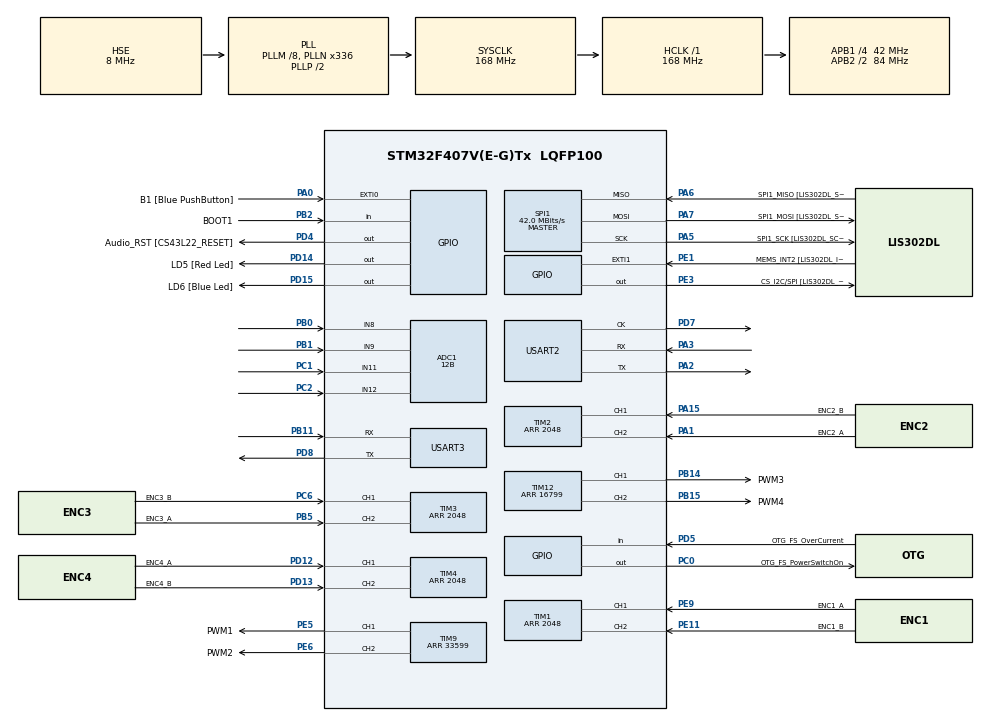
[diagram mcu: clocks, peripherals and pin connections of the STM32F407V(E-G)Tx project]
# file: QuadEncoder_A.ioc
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ADC1.Channel-4\#ChannelRegularConversion=ADC_CHANNEL_8
ADC1.Channel-5\#ChannelRegularConversion=ADC_CHANNEL_9
ADC1.Channel-6\#ChannelRegularConversion=ADC_CHANNEL_11
ADC1.Channel-7\#ChannelRegularConversion=ADC_CHANNEL_12
ADC1.Channel-8\#ChannelRegularConversion=ADC_CHANNEL_TEMPSENSOR
ADC1.ClockPrescaler=ADC_CLOCK_SYNC_PCLK_DIV4
ADC1.ContinuousConvMode=ENABLE
ADC1.DMAContinuousRequests=ENABLE
ADC1.DataAlign=ADC_DATAALIGN_RIGHT
ADC1.DiscontinuousConvMode=DISABLE
ADC1.EOCSelection=ADC_EOC_SEQ_CONV
ADC1.EnableAnalogWatchDog=false
ADC1.ExternalTrigConv=ADC_SOFTWARE_START
ADC1.ExternalTrigConvEdge=ADC_EXTERNALTRIGCONVEDGE_NONE
ADC1.InjNumberOfConversion=0
ADC1.NbrOfConversion=5
ADC1.NbrOfConversionFlag=1
ADC1.Rank-4\#ChannelRegularConversion=1
ADC1.Rank-5\#ChannelRegularConversion=2
ADC1.Rank-6\#ChannelRegularConversion=3
ADC1.Rank-7\#ChannelRegularConversion=4
ADC1.Rank-8\#ChannelRegularConversion=5
ADC1.Resolution=ADC_RESOLUTION_12B
ADC1.SamplingTime-4\#ChannelRegularConversion=ADC_SAMPLETIME_480CYCLES
ADC1.SamplingTime-5\#ChannelRegularConversion=ADC_SAMPLETIME_480CYCLES
ADC1.SamplingTime-6\#ChannelRegularConversion=ADC_SAMPLETIME_480CYCLES
ADC1.SamplingTime-7\#ChannelRegularConversion=ADC_SAMPLETIME_480CYCLES
ADC1.SamplingTime-8\#ChannelRegularConversion=ADC_SAMPLETIME_480CYCLES
ADC1.ScanConvMode=ENABLE
ADC1.master=1
Dma.ADC1.0.Direction=DMA_PERIPH_TO_MEMORY
Dma.ADC1.0.FIFOMode=DMA_FIFOMODE_DISABLE
Dma.ADC1.0.Instance=DMA2_Stream0
Dma.ADC1.0.MemDataAlignment=DMA_MDATAALIGN_HALFWORD
Dma.ADC1.0.MemInc=DMA_MINC_ENABLE
Dma.ADC1.0.Mode=DMA_CIRCULAR
Dma.ADC1.0.PeriphDataAlignment=DMA_PDATAALIGN_HALFWORD
Dma.ADC1.0.PeriphInc=DMA_PINC_DISABLE
Dma.ADC1.0.Priority=DMA_PRIORITY_LOW
Dma.Request0=ADC1
Mcu.Family=STM32F4
Mcu.Name=STM32F407V(E-G)Tx
Mcu.Package=LQFP100
NVIC.ADC_IRQn=true\:0\:0\:false\:false\:true
NVIC.DMA2_Stream0_IRQn=true\:0\:0\:false\:false\:true
NVIC.PriorityGroup=NVIC_PRIORITYGROUP_0
NVIC.TIM5_IRQn=true\:0\:0\:false\:false\:true
PA0-WKUP.GPIO_Label=B1 [Blue PushButton]
PA0-WKUP.Signal=GPXTI0
PA1.GPIO_Label=ENC2_A
PA1.GPIO_PuPd=GPIO_PULLUP
PA1.Signal=S_TIM2_CH2
PA10.GPIO_Label=OTG_FS_ID
PA10.GPIO_Mode=GPIO_MODE_AF_PP
PA10.GPIO_PuPd=GPIO_NOPULL
PA10.GPIO_Speed=GPIO_SPEED_FREQ_LOW
PA10.Signal=USB_OTG_FS_ID
PA11.GPIO_Label=OTG_FS_DM
PA11.GPIO_Mode=GPIO_MODE_AF_PP
PA11.GPIO_PuPd=GPIO_NOPULL
PA11.GPIO_Speed=GPIO_SPEED_FREQ_LOW
PA11.Signal=USB_OTG_FS_DM
PA12.GPIO_Label=OTG_FS_DP
PA12.GPIO_Mode=GPIO_MODE_AF_PP
PA12.GPIO_PuPd=GPIO_NOPULL
PA12.GPIO_Speed=GPIO_SPEED_FREQ_LOW
PA12.Signal=USB_OTG_FS_DP
PA13.GPIO_Label=SWDIO
PA13.Signal=SYS_JTMS-SWDIO
PA14.GPIO_Label=SWCLK
PA14.Signal=SYS_JTCK-SWCLK
PA15.GPIO_Label=ENC2_B
PA15.GPIO_PuPd=GPIO_PULLUP
PA15.Signal=S_TIM2_CH1_ETR
PA2.Mode=Synchronous
PA2.Signal=USART2_TX
PA3.Mode=Synchronous
PA3.Signal=USART2_RX
PA4.GPIO_Label=I2S3_WS [CS43L22_LRCK]
PA4.GPIO_Mode=GPIO_MODE_AF_PP
PA4.GPIO_PuPd=GPIO_NOPULL
PA4.GPIO_Speed=GPIO_SPEED_FREQ_LOW
PA4.Signal=I2S3_WS
PA5.GPIO_Label=SPI1_SCK [LIS302DL_SCL/SPC]
PA5.GPIO_Mode=GPIO_MODE_AF_PP
PA5.GPIO_PuPd=GPIO_NOPULL
PA5.GPIO_Speed=GPIO_SPEED_FREQ_LOW
PA5.Mode=Full_Duplex_Master
PA5.Signal=SPI1_SCK
PA6.GPIO_Label=SPI1_MISO [LIS302DL_SDO]
PA6.GPIO_Mode=GPIO_MODE_AF_PP
PA6.GPIO_PuPd=GPIO_NOPULL
PA6.GPIO_Speed=GPIO_SPEED_FREQ_LOW
PA6.Mode=Full_Duplex_Master
PA6.Signal=SPI1_MISO
PA7.GPIO_Label=SPI1_MOSI [LIS302DL_SDA/SDI/SDO]
PA7.GPIO_Mode=GPIO_MODE_AF_PP
PA7.GPIO_PuPd=GPIO_NOPULL
PA7.GPIO_Speed=GPIO_SPEED_FREQ_LOW
PA7.Mode=Full_Duplex_Master
PA7.Signal=SPI1_MOSI
PA9.GPIO_Label=VBUS_FS
PA9.GPIO_Mode=GPIO_MODE_INPUT
PA9.GPIO_PuPd=GPIO_NOPULL
PA9.Signal=USB_OTG_FS_VBUS
PB0.Signal=ADCx_IN8
PB1.Signal=ADCx_IN9
PB10.GPIO_Label=CLK_IN [MP45DT02_CLK]
PB10.GPIO_Mode=GPIO_MODE_AF_PP
PB10.GPIO_PuPd=GPIO_NOPULL
PB10.GPIO_Speed=GPIO_SPEED_FREQ_LOW
PB10.Signal=I2S2_CK
PB11.Mode=Multiprocessor_communication
PB11.Signal=USART3_RX
PB14.GPIO_Label=PWM3
PB14.GPIO_PuPd=GPIO_PULLUP
PB14.GPIO_Speed=GPIO_SPEED_FREQ_HIGH
PB14.Signal=S_TIM12_CH1
PB15.GPIO_Label=PWM4
PB15.GPIO_PuPd=GPIO_PULLUP
PB15.GPIO_Speed=GPIO_SPEED_FREQ_HIGH
PB15.Signal=S_TIM12_CH2
PB2.GPIO_Label=BOOT1
PB2.GPIO_Mode=GPIO_MODE_INPUT
PB2.GPIO_PuPd=GPIO_NOPULL
PB2.Signal=GPIO_Input
PB3.GPIO_Label=SWO
PB3.Signal=SYS_JTDO-SWO
PB5.GPIO_Label=ENC3_A
PB5.GPIO_PuPd=GPIO_PULLUP
PB5.Signal=S_TIM3_CH2
PB6.GPIO_Label=Audio_SCL [CS43L22_SCL]
PB6.GPIO_Mode=GPIO_MODE_AF_OD
PB6.GPIO_PuPd=GPIO_NOPULL
PB6.GPIO_Speed=GPIO_SPEED_FREQ_LOW
PB6.Signal=I2C1_SCL
PB9.GPIO_Label=Audio_SDA [CS43L22_SDA]
PB9.GPIO_Mode=GPIO_MODE_AF_OD
PB9.GPIO_PuPd=GPIO_NOPULL
PB9.GPIO_Speed=GPIO_SPEED_FREQ_LOW
PB9.Signal=I2C1_SDA
PC0.GPIO_Label=OTG_FS_PowerSwitchOn
PC0.GPIO_PuPd=GPIO_NOPULL
PC0.GPIO_Speed=GPIO_SPEED_FREQ_LOW
PC0.PinState=GPIO_PIN_SET
PC0.Signal=GPIO_Output
PC1.Signal=ADCx_IN11
PC10.GPIO_Label=I2S3_SCK [CS43L22_SCLK]
PC10.GPIO_Mode=GPIO_MODE_AF_PP
PC10.GPIO_PuPd=GPIO_NOPULL
PC10.GPIO_Speed=GPIO_SPEED_FREQ_LOW
PC10.Signal=I2S3_CK
PC12.GPIO_Label=I2S3_SD [CS43L22_SDIN]
PC12.GPIO_Mode=GPIO_MODE_AF_PP
PC12.GPIO_PuPd=GPIO_NOPULL
PC12.GPIO_Speed=GPIO_SPEED_FREQ_LOW
PC12.Signal=I2S3_SD
PC14-OSC32_IN.GPIO_Label=PC14-OSC32_IN
PC14-OSC32_IN.Signal=RCC_OSC32_IN
PC15-OSC32_OUT.GPIO_Label=PC15-OSC32_OUT
PC15-OSC32_OUT.Signal=RCC_OSC32_OUT
PC2.Signal=ADCx_IN12
PC3.GPIO_Label=PDM_OUT [MP45DT02_DOUT]
PC3.GPIO_Mode=GPIO_MODE_AF_PP
PC3.GPIO_PuPd=GPIO_NOPULL
PC3.GPIO_Speed=GPIO_SPEED_FREQ_LOW
PC3.Signal=I2S2_SD
PC6.GPIO_Label=ENC3_B
PC6.GPIO_PuPd=GPIO_PULLUP
PC6.Signal=S_TIM3_CH1
PC7.GPIO_Label=I2S3_MCK [CS43L22_MCLK]
PC7.GPIO_Mode=GPIO_MODE_AF_PP
PC7.GPIO_PuPd=GPIO_NOPULL
PC7.GPIO_Speed=GPIO_SPEED_FREQ_LOW
PC7.Signal=I2S3_MCK
PD12.GPIO_Label=ENC4_A
PD12.GPIO_PuPd=GPIO_PULLUP
PD12.Signal=S_TIM4_CH1
PD13.GPIO_Label=ENC4_B
PD13.GPIO_PuPd=GPIO_PULLUP
PD13.Signal=S_TIM4_CH2
PD14.GPIO_Label=LD5 [Red Led]
PD14.GPIO_PuPd=GPIO_NOPULL
PD14.GPIO_Speed=GPIO_SPEED_FREQ_LOW
PD14.Signal=GPIO_Output
PD15.GPIO_Label=LD6 [Blue Led]
PD15.GPIO_PuPd=GPIO_NOPULL
PD15.GPIO_Speed=GPIO_SPEED_FREQ_LOW
PD15.Signal=GPIO_Output
PD4.GPIO_Label=Audio_RST [CS43L22_RESET]
PD4.GPIO_PuPd=GPIO_NOPULL
PD4.GPIO_Speed=GPIO_SPEED_FREQ_LOW
PD4.Signal=GPIO_Output
PD5.GPIO_Label=OTG_FS_OverCurrent
PD5.GPIO_Mode=GPIO_MODE_INPUT
PD5.GPIO_PuPd=GPIO_NOPULL
PD5.Signal=GPIO_Input
PD7.Mode=Synchronous
PD7.Signal=USART2_CK
PD8.Mode=Multiprocessor_communication
PD8.Signal=USART3_TX
PE1.GPIO_Label=MEMS_INT2 [LIS302DL_INT2]
PE1.GPIO_ModeDefaultEXTI=GPIO_MODE_EVT_RISING
PE1.GPIO_PuPd=GPIO_NOPULL
PE1.Signal=GPXTI1
PE11.GPIO_Label=ENC1_B
PE11.GPIO_PuPd=GPIO_PULLUP
PE11.Signal=S_TIM1_CH2
PE3.GPIO_Label=CS_I2C/SPI [LIS302DL_CS_I2C/SPI]
PE3.GPIO_PuPd=GPIO_NOPULL
PE3.GPIO_Speed=GPIO_SPEED_FREQ_LOW
PE3.Signal=GPIO_Output
PE5.GPIO_Label=PWM1
PE5.GPIO_PuPd=GPIO_PULLUP
PE5.GPIO_Speed=GPIO_SPEED_FREQ_HIGH
PE5.Signal=S_TIM9_CH1
PE6.GPIO_Label=PWM2
PE6.GPIO_PuPd=GPIO_PULLUP
PE6.GPIO_Speed=GPIO_SPEED_FREQ_HIGH
PE6.Signal=S_TIM9_CH2
PE9.GPIO_Label=ENC1_A
PE9.GPIO_PuPd=GPIO_PULLUP
PE9.Signal=S_TIM1_CH1
PH0-OSC_IN.GPIO_Label=PH0-OSC_IN
PH0-OSC_IN.Mode=HSE-External-Oscillator
PH0-OSC_IN.Signal=RCC_OSC_IN
PH1-OSC_OUT.GPIO_Label=PH1-OSC_OUT
PH1-OSC_OUT.Mode=HSE-External-Oscillator
PH1-OSC_OUT.Signal=RCC_OSC_OUT
ProjectManager.HeapSize=0x200
ProjectManager.StackSize=0x400
ProjectManager.TargetToolchain=MDK-ARM V5
RCC.48MHZClocksFreq_Value=48000000
RCC.AHBFreq_Value=168000000
RCC.APB1CLKDivider=RCC_HCLK_DIV4
RCC.APB1Freq_Value=42000000
RCC.APB1TimFreq_Value=84000000
RCC.APB2CLKDivider=RCC_HCLK_DIV2
RCC.APB2Freq_Value=84000000
RCC.APB2TimFreq_Value=168000000
RCC.CortexFreq_Value=168000000
RCC.HCLKFreq_Value=168000000
RCC.HSE_VALUE=8000000
RCC.HSI_VALUE=16000000
RCC.LSE_VALUE=32768
RCC.PLLM=8
RCC.PLLN=336
RCC.PLLQ=7
RCC.PLLSourceVirtual=RCC_PLLSOURCE_HSE
RCC.SYSCLKFreq_VALUE=168000000
RCC.SYSCLKSource=RCC_SYSCLKSOURCE_PLLCLK
RCC.VCOOutputFreq_Value=336000000
SH.ADCx_IN11.0=ADC1_IN11,IN11
SH.ADCx_IN12.0=ADC1_IN12,IN12
SH.ADCx_IN8.0=ADC1_IN8,IN8
SH.ADCx_IN9.0=ADC1_IN9,IN9
SH.S_TIM12_CH1.0=TIM12_CH1,PWM Generation1 CH1
SH.S_TIM12_CH2.0=TIM12_CH2,PWM Generation2 CH2
SH.S_TIM1_CH1.0=TIM1_CH1,Encoder_Interface
SH.S_TIM1_CH2.0=TIM1_CH2,Encoder_Interface
SH.S_TIM2_CH1_ETR.0=TIM2_CH1,Encoder_Interface
SH.S_TIM2_CH2.0=TIM2_CH2,Encoder_Interface
SH.S_TIM3_CH1.0=TIM3_CH1,Encoder_Interface
SH.S_TIM3_CH2.0=TIM3_CH2,Encoder_Interface
SH.S_TIM4_CH1.0=TIM4_CH1,Encoder_Interface
SH.S_TIM4_CH2.0=TIM4_CH2,Encoder_Interface
SH.S_TIM9_CH1.0=TIM9_CH1,PWM Generation1 CH1
SH.S_TIM9_CH2.0=TIM9_CH2,PWM Generation2 CH2
SPI1.CalculateBaudRate=42.0 MBits/s
SPI1.Direction=SPI_DIRECTION_2LINES
SPI1.Mode=SPI_MODE_MASTER
SPI1.VirtualType=VM_MASTER
TIM1.EncoderMode=TIM_ENCODERMODE_TI12
TIM1.IC1Filter=5
TIM1.IC2Filter=5
TIM1.Period=2048
TIM12.Channel-PWM\ Generation1\ CH1=TIM_CHANNEL_1
TIM12.Channel-PWM\ Generation2\ CH2=TIM_CHANNEL_2
TIM12.Period=16799
TIM2.EncoderMode=TIM_ENCODERMODE_TI12
TIM2.IC1Filter=5
TIM2.IC2Filter=5
TIM2.Period=2048
TIM3.EncoderMode=TIM_ENCODERMODE_TI12
TIM3.IC1Filter=5
TIM3.IC2Filter=5
TIM3.Period=2048
TIM4.EncoderMode=TIM_ENCODERMODE_TI12
TIM4.IC1Filter=5
TIM4.IC2Filter=5
TIM4.Period=2048
TIM5.Period=199
TIM5.Prescaler=41999
TIM9.Channel-PWM\ Generation1\ CH1=TIM_CHANNEL_1
TIM9.Channel-PWM\ Generation2\ CH2=TIM_CHANNEL_2
TIM9.Period=33599
TIM9.Pulse-PWM\ Generation1\ CH1=0
TIM9.Pulse-PWM\ Generation2\ CH2=0
USART2.VirtualMode=VM_SYNC
USART3.VirtualMode=VM_ASYNC
VP_ADC1_TempSens_Input.Mode=IN-TempSens
VP_TIM5_VS_ClockSourceINT.Mode=Internal
board=STM32F4DISCOVERY

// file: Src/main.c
/**
  ******************************************************************************
  * File Name          : main.c
  * Description        : Main program body
  ******************************************************************************
  ** This notice applies to any and all portions of this file
  * that are not between comment pairs USER CODE BEGIN and
  * USER CODE END. Other portions of this file, whether
  * inserted by the user or by software development tools
  * are owned by their respective copyright owners.
  *
  * COPYRIGHT(c) 2017 STMicroelectronics
  *
  * Redistribution and use in source and binary forms, with or without modification,
  * are permitted provided that the following conditions are met:
  *   1. Redistributions of source code must retain the above copyright notice,
  *      this list of conditions and the following disclaimer.
  *   2. Redistributions in binary form must reproduce the above copyright notice,
  *      this list of conditions and the following disclaimer in the documentation
  *      and/or other materials provided with the distribution.
  *   3. Neither the name of STMicroelectronics nor the names of its contributors
  *      may be used to endorse or promote products derived from this software
  *      without specific prior written permission.
  *
  * THIS SOFTWARE IS PROVIDED BY THE COPYRIGHT HOLDERS AND CONTRIBUTORS "AS IS"
  * AND ANY EXPRESS OR IMPLIED WARRANTIES, INCLUDING, BUT NOT LIMITED TO, THE
  * IMPLIED WARRANTIES OF MERCHANTABILITY AND FITNESS FOR A PARTICULAR PURPOSE ARE
  * DISCLAIMED. IN NO EVENT SHALL THE COPYRIGHT HOLDER OR CONTRIBUTORS BE LIABLE
  * FOR ANY DIRECT, INDIRECT, INCIDENTAL, SPECIAL, EXEMPLARY, OR CONSEQUENTIAL
  * DAMAGES (INCLUDING, BUT NOT LIMITED TO, PROCUREMENT OF SUBSTITUTE GOODS OR
  * SERVICES; LOSS OF USE, DATA, OR PROFITS; OR BUSINESS INTERRUPTION) HOWEVER
  * CAUSED AND ON ANY THEORY OF LIABILITY, WHETHER IN CONTRACT, STRICT LIABILITY,
  * OR TORT (INCLUDING NEGLIGENCE OR OTHERWISE) ARISING IN ANY WAY OUT OF THE USE
  * OF THIS SOFTWARE, EVEN IF ADVISED OF THE POSSIBILITY OF SUCH DAMAGE.
  *
  ******************************************************************************
  */
#include "main.h"
#include "stm32f4xx_hal.h"

/* USER CODE BEGIN Includes */
#include <stdio.h>
#include "oneiroi_motor.h"
/* USER CODE END Includes */

ADC_HandleTypeDef hadc1;
DMA_HandleTypeDef hdma_adc1;

SPI_HandleTypeDef hspi1;

TIM_HandleTypeDef htim1;
TIM_HandleTypeDef htim2;
TIM_HandleTypeDef htim3;
TIM_HandleTypeDef htim4;
TIM_HandleTypeDef htim5;
TIM_HandleTypeDef htim9;
TIM_HandleTypeDef htim12;

USART_HandleTypeDef husart2;
UART_HandleTypeDef huart3;

/* USER CODE BEGIN PV */
/* Private variables ---------------------------------------------------------*/
MOTOR_HandlerTypeDef motor1;
MOTOR_HandlerTypeDef motor2;
MOTOR_HandlerTypeDef motor3;
MOTOR_HandlerTypeDef motor4;

uint16_t ADC_Raw[5];
/* USER CODE END PV */

void SystemClock_Config(void);
static void MX_GPIO_Init(void);
static void MX_DMA_Init(void);
static void MX_ADC1_Init(void);
static void MX_SPI1_Init(void);
static void MX_TIM1_Init(void);
static void MX_TIM2_Init(void);
static void MX_TIM3_Init(void);
static void MX_TIM4_Init(void);
static void MX_TIM5_Init(void);
static void MX_USART2_Init(void);
static void MX_USART3_UART_Init(void);
static void MX_TIM12_Init(void);
static void MX_TIM9_Init(void);

void HAL_TIM_MspPostInit(TIM_HandleTypeDef *htim);

/* USER CODE BEGIN PFP */
/* Private function prototypes -----------------------------------------------*/

/* USER CODE END PFP */

int main(void)
{

  /* MCU Configuration----------------------------------------------------------*/

  /* Reset of all peripherals, Initializes the Flash interface and the Systick. */
  HAL_Init();

  /* Configure the system clock */
  SystemClock_Config();

  /* Initialize all configured peripherals */
  MX_GPIO_Init();
  MX_DMA_Init();
  MX_ADC1_Init();
  MX_SPI1_Init();
  MX_TIM1_Init();
  MX_TIM2_Init();
  MX_TIM3_Init();
  MX_TIM4_Init();
  MX_TIM5_Init();
  MX_USART2_Init();
  MX_USART3_UART_Init();
  MX_TIM12_Init();
  MX_TIM9_Init();

  /* USER CODE BEGIN 2 */
	//Timer 5: Internal interrupt. Every 0.1 sec (10 Hz)
	HAL_TIM_Base_Start_IT(&htim5);	//Start Timer3 for interupt function

	//Start TIM9 for PWM1 and PWM2
	HAL_TIM_Base_Start(&htim9);
	HAL_TIM_PWM_Start(&htim9, TIM_CHANNEL_1);
	HAL_TIM_PWM_Start(&htim9, TIM_CHANNEL_2);

	//Start TIM12 for PWM3 and PWM4 generation
	HAL_TIM_Base_Start(&htim12);
	HAL_TIM_PWM_Start(&htim12, TIM_CHANNEL_1);
	HAL_TIM_PWM_Start(&htim12, TIM_CHANNEL_2);

	//Start TIM1 for Encoder1 interface
	HAL_TIM_Encoder_Start(&htim1,TIM_CHANNEL_ALL);	//Start Timer1 to count encoder pulses
	__HAL_TIM_SetCounter(&htim1, 1024);	//Set count to 1024

	//Start TIM2 for Encoder2 interface
	HAL_TIM_Encoder_Start(&htim2,TIM_CHANNEL_ALL);	//Start Timer1 to count encoder pulses
	__HAL_TIM_SetCounter(&htim2, 1024);	//Set count to 1024

	//Start TIM3 for Encoder3 interface
	HAL_TIM_Encoder_Start(&htim3,TIM_CHANNEL_ALL);	//Start Timer1 to count encoder pulses
	__HAL_TIM_SetCounter(&htim3, 1024);	//Set count to 1024

	//Start TIM4 for Encoder4 interface
	HAL_TIM_Encoder_Start(&htim4,TIM_CHANNEL_ALL);	//Start Timer1 to count encoder pulses
	__HAL_TIM_SetCounter(&htim4, 1024);	//Set count to 1024

	//Reset Encoder
	motor1.EncoderCount = 1024;
	motor2.EncoderCount = 1024;
	motor3.EncoderCount = 1024;
	motor4.EncoderCount = 1024;

	//Start ADC conversion
	HAL_ADC_Start_DMA(&hadc1, (uint32_t*)ADC_Raw, 5);
	HAL_ADC_Start_IT(&hadc1);

  /* USER CODE END 2 */

  /* Infinite loop */
  /* USER CODE BEGIN WHILE */
	//Set Duty cycle -- from 0 to 33599
	__HAL_TIM_SET_COMPARE(&htim9, TIM_CHANNEL_1, 16800);	//PWM1 -- PE5
	__HAL_TIM_SET_COMPARE(&htim9, TIM_CHANNEL_2, 8400);		//PWM2 -- PE6

	//Set Duty cycle -- from 0 to 16799
	__HAL_TIM_SET_COMPARE(&htim12, TIM_CHANNEL_1, 8400);	//PWM3 -- PB14
	__HAL_TIM_SET_COMPARE(&htim12, TIM_CHANNEL_2, 4200);	//PWM4 -- PB15

	printf("Quad Encoder setup\n");
  while (1)
  {
//		HAL_ADC_Start_IT(&hadc1);
		/*
		printf("%i \t %i \t %i \t %i \n", 	motor1.EncoderCount
																			, motor2.EncoderCount
																			, motor3.EncoderCount
																			, motor4.EncoderCount);
		*/

		printf("%i \t %i \t %i \t %i \n", 	motor1.ADC_raw
																			, motor2.ADC_raw
																			, motor3.ADC_raw
																			, motor4.ADC_raw);

  /* USER CODE END WHILE */

	}
}

/** System Clock Configuration
*/
void SystemClock_Config(void)
{

  RCC_OscInitTypeDef RCC_OscInitStruct;
  RCC_ClkInitTypeDef RCC_ClkInitStruct;

    /**Configure the main internal regulator output voltage
    */
  __HAL_RCC_PWR_CLK_ENABLE();

  __HAL_PWR_VOLTAGESCALING_CONFIG(PWR_REGULATOR_VOLTAGE_SCALE1);

    /**Initializes the CPU, AHB and APB busses clocks
    */
  RCC_OscInitStruct.OscillatorType = RCC_OSCILLATORTYPE_HSE;
  RCC_OscInitStruct.HSEState = RCC_HSE_ON;
  RCC_OscInitStruct.PLL.PLLState = RCC_PLL_ON;
  RCC_OscInitStruct.PLL.PLLSource = RCC_PLLSOURCE_HSE;
  RCC_OscInitStruct.PLL.PLLM = 8;
  RCC_OscInitStruct.PLL.PLLN = 336;
  RCC_OscInitStruct.PLL.PLLP = RCC_PLLP_DIV2;
  RCC_OscInitStruct.PLL.PLLQ = 7;
  if (HAL_RCC_OscConfig(&RCC_OscInitStruct) != HAL_OK)
  {
    _Error_Handler(__FILE__, __LINE__);
  }

    /**Initializes the CPU, AHB and APB busses clocks
    */
  RCC_ClkInitStruct.ClockType = RCC_CLOCKTYPE_HCLK|RCC_CLOCKTYPE_SYSCLK
                              |RCC_CLOCKTYPE_PCLK1|RCC_CLOCKTYPE_PCLK2;
  RCC_ClkInitStruct.SYSCLKSource = RCC_SYSCLKSOURCE_PLLCLK;
  RCC_ClkInitStruct.AHBCLKDivider = RCC_SYSCLK_DIV1;
  RCC_ClkInitStruct.APB1CLKDivider = RCC_HCLK_DIV4;
  RCC_ClkInitStruct.APB2CLKDivider = RCC_HCLK_DIV2;

  if (HAL_RCC_ClockConfig(&RCC_ClkInitStruct, FLASH_LATENCY_5) != HAL_OK)
  {
    _Error_Handler(__FILE__, __LINE__);
  }

    /**Configure the Systick interrupt time
    */
  HAL_SYSTICK_Config(HAL_RCC_GetHCLKFreq()/1000);

    /**Configure the Systick
    */
  HAL_SYSTICK_CLKSourceConfig(SYSTICK_CLKSOURCE_HCLK);

  /* SysTick_IRQn interrupt configuration */
  HAL_NVIC_SetPriority(SysTick_IRQn, 0, 0);
}

/* ADC1 init function */
static void MX_ADC1_Init(void)
{

  ADC_ChannelConfTypeDef sConfig;

    /**Configure the global features of the ADC (Clock, Resolution, Data Alignment and number of conversion)
    */
  hadc1.Instance = ADC1;
  hadc1.Init.ClockPrescaler = ADC_CLOCK_SYNC_PCLK_DIV4;
  hadc1.Init.Resolution = ADC_RESOLUTION_12B;
  hadc1.Init.ScanConvMode = ENABLE;
  hadc1.Init.ContinuousConvMode = ENABLE;
  hadc1.Init.DiscontinuousConvMode = DISABLE;
  hadc1.Init.ExternalTrigConvEdge = ADC_EXTERNALTRIGCONVEDGE_NONE;
  hadc1.Init.ExternalTrigConv = ADC_SOFTWARE_START;
  hadc1.Init.DataAlign = ADC_DATAALIGN_RIGHT;
  hadc1.Init.NbrOfConversion = 5;
  hadc1.Init.DMAContinuousRequests = ENABLE;
  hadc1.Init.EOCSelection = ADC_EOC_SEQ_CONV;
  if (HAL_ADC_Init(&hadc1) != HAL_OK)
  {
    _Error_Handler(__FILE__, __LINE__);
  }

    /**Configure for the selected ADC regular channel its corresponding rank in the sequencer and its sample time.
    */
  sConfig.Channel = ADC_CHANNEL_8;
  sConfig.Rank = 1;
  sConfig.SamplingTime = ADC_SAMPLETIME_480CYCLES;
  if (HAL_ADC_ConfigChannel(&hadc1, &sConfig) != HAL_OK)
  {
    _Error_Handler(__FILE__, __LINE__);
  }

    /**Configure for the selected ADC regular channel its corresponding rank in the sequencer and its sample time.
    */
  sConfig.Channel = ADC_CHANNEL_9;
  sConfig.Rank = 2;
  if (HAL_ADC_ConfigChannel(&hadc1, &sConfig) != HAL_OK)
  {
    _Error_Handler(__FILE__, __LINE__);
  }

    /**Configure for the selected ADC regular channel its corresponding rank in the sequencer and its sample time.
    */
  sConfig.Channel = ADC_CHANNEL_11;
  sConfig.Rank = 3;
  if (HAL_ADC_ConfigChannel(&hadc1, &sConfig) != HAL_OK)
  {
    _Error_Handler(__FILE__, __LINE__);
  }

    /**Configure for the selected ADC regular channel its corresponding rank in the sequencer and its sample time.
    */
  sConfig.Channel = ADC_CHANNEL_12;
  sConfig.Rank = 4;
  if (HAL_ADC_ConfigChannel(&hadc1, &sConfig) != HAL_OK)
  {
    _Error_Handler(__FILE__, __LINE__);
  }

    /**Configure for the selected ADC regular channel its corresponding rank in the sequencer and its sample time.
    */
  sConfig.Channel = ADC_CHANNEL_TEMPSENSOR;
  sConfig.Rank = 5;
  if (HAL_ADC_ConfigChannel(&hadc1, &sConfig) != HAL_OK)
  {
    _Error_Handler(__FILE__, __LINE__);
  }

}

/* SPI1 init function */
static void MX_SPI1_Init(void)
{

  hspi1.Instance = SPI1;
  hspi1.Init.Mode = SPI_MODE_MASTER;
  hspi1.Init.Direction = SPI_DIRECTION_2LINES;
  hspi1.Init.DataSize = SPI_DATASIZE_8BIT;
  hspi1.Init.CLKPolarity = SPI_POLARITY_LOW;
  hspi1.Init.CLKPhase = SPI_PHASE_1EDGE;
  hspi1.Init.NSS = SPI_NSS_SOFT;
  hspi1.Init.BaudRatePrescaler = SPI_BAUDRATEPRESCALER_2;
  hspi1.Init.FirstBit = SPI_FIRSTBIT_MSB;
  hspi1.Init.TIMode = SPI_TIMODE_DISABLE;
  hspi1.Init.CRCCalculation = SPI_CRCCALCULATION_DISABLE;
  hspi1.Init.CRCPolynomial = 10;
  if (HAL_SPI_Init(&hspi1) != HAL_OK)
  {
    _Error_Handler(__FILE__, __LINE__);
  }

}

/* TIM1 init function */
static void MX_TIM1_Init(void)
{

  TIM_Encoder_InitTypeDef sConfig;
  TIM_MasterConfigTypeDef sMasterConfig;

  htim1.Instance = TIM1;
  htim1.Init.Prescaler = 0;
  htim1.Init.CounterMode = TIM_COUNTERMODE_UP;
  htim1.Init.Period = 2048;
  htim1.Init.ClockDivision = TIM_CLOCKDIVISION_DIV1;
  htim1.Init.RepetitionCounter = 0;
  sConfig.EncoderMode = TIM_ENCODERMODE_TI12;
  sConfig.IC1Polarity = TIM_ICPOLARITY_RISING;
  sConfig.IC1Selection = TIM_ICSELECTION_DIRECTTI;
  sConfig.IC1Prescaler = TIM_ICPSC_DIV1;
  sConfig.IC1Filter = 5;
  sConfig.IC2Polarity = TIM_ICPOLARITY_RISING;
  sConfig.IC2Selection = TIM_ICSELECTION_DIRECTTI;
  sConfig.IC2Prescaler = TIM_ICPSC_DIV1;
  sConfig.IC2Filter = 5;
  if (HAL_TIM_Encoder_Init(&htim1, &sConfig) != HAL_OK)
  {
    _Error_Handler(__FILE__, __LINE__);
  }

  sMasterConfig.MasterOutputTrigger = TIM_TRGO_RESET;
  sMasterConfig.MasterSlaveMode = TIM_MASTERSLAVEMODE_DISABLE;
  if (HAL_TIMEx_MasterConfigSynchronization(&htim1, &sMasterConfig) != HAL_OK)
  {
    _Error_Handler(__FILE__, __LINE__);
  }

}

/* TIM2 init function */
static void MX_TIM2_Init(void)
{

  TIM_Encoder_InitTypeDef sConfig;
  TIM_MasterConfigTypeDef sMasterConfig;

  htim2.Instance = TIM2;
  htim2.Init.Prescaler = 0;
  htim2.Init.CounterMode = TIM_COUNTERMODE_UP;
  htim2.Init.Period = 2048;
  htim2.Init.ClockDivision = TIM_CLOCKDIVISION_DIV1;
  sConfig.EncoderMode = TIM_ENCODERMODE_TI12;
  sConfig.IC1Polarity = TIM_ICPOLARITY_RISING;
  sConfig.IC1Selection = TIM_ICSELECTION_DIRECTTI;
  sConfig.IC1Prescaler = TIM_ICPSC_DIV1;
  sConfig.IC1Filter = 5;
  sConfig.IC2Polarity = TIM_ICPOLARITY_RISING;
  sConfig.IC2Selection = TIM_ICSELECTION_DIRECTTI;
  sConfig.IC2Prescaler = TIM_ICPSC_DIV1;
  sConfig.IC2Filter = 5;
  if (HAL_TIM_Encoder_Init(&htim2, &sConfig) != HAL_OK)
  {
    _Error_Handler(__FILE__, __LINE__);
  }

  sMasterConfig.MasterOutputTrigger = TIM_TRGO_RESET;
  sMasterConfig.MasterSlaveMode = TIM_MASTERSLAVEMODE_DISABLE;
  if (HAL_TIMEx_MasterConfigSynchronization(&htim2, &sMasterConfig) != HAL_OK)
  {
    _Error_Handler(__FILE__, __LINE__);
  }

}

/* TIM3 init function */
static void MX_TIM3_Init(void)
{

  TIM_Encoder_InitTypeDef sConfig;
  TIM_MasterConfigTypeDef sMasterConfig;

  htim3.Instance = TIM3;
  htim3.Init.Prescaler = 0;
  htim3.Init.CounterMode = TIM_COUNTERMODE_UP;
  htim3.Init.Period = 2048;
  htim3.Init.ClockDivision = TIM_CLOCKDIVISION_DIV1;
  sConfig.EncoderMode = TIM_ENCODERMODE_TI12;
  sConfig.IC1Polarity = TIM_ICPOLARITY_RISING;
  sConfig.IC1Selection = TIM_ICSELECTION_DIRECTTI;
  sConfig.IC1Prescaler = TIM_ICPSC_DIV1;
  sConfig.IC1Filter = 5;
  sConfig.IC2Polarity = TIM_ICPOLARITY_RISING;
  sConfig.IC2Selection = TIM_ICSELECTION_DIRECTTI;
  sConfig.IC2Prescaler = TIM_ICPSC_DIV1;
  sConfig.IC2Filter = 5;
  if (HAL_TIM_Encoder_Init(&htim3, &sConfig) != HAL_OK)
  {
    _Error_Handler(__FILE__, __LINE__);
  }

  sMasterConfig.MasterOutputTrigger = TIM_TRGO_RESET;
  sMasterConfig.MasterSlaveMode = TIM_MASTERSLAVEMODE_DISABLE;
  if (HAL_TIMEx_MasterConfigSynchronization(&htim3, &sMasterConfig) != HAL_OK)
  {
    _Error_Handler(__FILE__, __LINE__);
  }

}

/* TIM4 init function */
static void MX_TIM4_Init(void)
{

  TIM_Encoder_InitTypeDef sConfig;
  TIM_MasterConfigTypeDef sMasterConfig;

  htim4.Instance = TIM4;
  htim4.Init.Prescaler = 0;
  htim4.Init.CounterMode = TIM_COUNTERMODE_UP;
  htim4.Init.Period = 2048;
  htim4.Init.ClockDivision = TIM_CLOCKDIVISION_DIV1;
  sConfig.EncoderMode = TIM_ENCODERMODE_TI12;
  sConfig.IC1Polarity = TIM_ICPOLARITY_RISING;
  sConfig.IC1Selection = TIM_ICSELECTION_DIRECTTI;
  sConfig.IC1Prescaler = TIM_ICPSC_DIV1;
  sConfig.IC1Filter = 5;
  sConfig.IC2Polarity = TIM_ICPOLARITY_RISING;
  sConfig.IC2Selection = TIM_ICSELECTION_DIRECTTI;
  sConfig.IC2Prescaler = TIM_ICPSC_DIV1;
  sConfig.IC2Filter = 5;
  if (HAL_TIM_Encoder_Init(&htim4, &sConfig) != HAL_OK)
  {
    _Error_Handler(__FILE__, __LINE__);
  }

  sMasterConfig.MasterOutputTrigger = TIM_TRGO_RESET;
  sMasterConfig.MasterSlaveMode = TIM_MASTERSLAVEMODE_DISABLE;
  if (HAL_TIMEx_MasterConfigSynchronization(&htim4, &sMasterConfig) != HAL_OK)
  {
    _Error_Handler(__FILE__, __LINE__);
  }

}

/* TIM5 init function */
static void MX_TIM5_Init(void)
{

  TIM_ClockConfigTypeDef sClockSourceConfig;
  TIM_MasterConfigTypeDef sMasterConfig;

  htim5.Instance = TIM5;
  htim5.Init.Prescaler = 41999;
  htim5.Init.CounterMode = TIM_COUNTERMODE_UP;
  htim5.Init.Period = 199;
  htim5.Init.ClockDivision = TIM_CLOCKDIVISION_DIV1;
  if (HAL_TIM_Base_Init(&htim5) != HAL_OK)
  {
    _Error_Handler(__FILE__, __LINE__);
  }

  sClockSourceConfig.ClockSource = TIM_CLOCKSOURCE_INTERNAL;
  if (HAL_TIM_ConfigClockSource(&htim5, &sClockSourceConfig) != HAL_OK)
  {
    _Error_Handler(__FILE__, __LINE__);
  }

  sMasterConfig.MasterOutputTrigger = TIM_TRGO_RESET;
  sMasterConfig.MasterSlaveMode = TIM_MASTERSLAVEMODE_DISABLE;
  if (HAL_TIMEx_MasterConfigSynchronization(&htim5, &sMasterConfig) != HAL_OK)
  {
    _Error_Handler(__FILE__, __LINE__);
  }

}

/* TIM9 init function */
static void MX_TIM9_Init(void)
{

  TIM_OC_InitTypeDef sConfigOC;

  htim9.Instance = TIM9;
  htim9.Init.Prescaler = 0;
  htim9.Init.CounterMode = TIM_COUNTERMODE_UP;
  htim9.Init.Period = 33599;
  htim9.Init.ClockDivision = TIM_CLOCKDIVISION_DIV1;
  if (HAL_TIM_PWM_Init(&htim9) != HAL_OK)
  {
    _Error_Handler(__FILE__, __LINE__);
  }

  sConfigOC.OCMode = TIM_OCMODE_PWM1;
  sConfigOC.Pulse = 0;
  sConfigOC.OCPolarity = TIM_OCPOLARITY_HIGH;
  sConfigOC.OCFastMode = TIM_OCFAST_DISABLE;
  if (HAL_TIM_PWM_ConfigChannel(&htim9, &sConfigOC, TIM_CHANNEL_1) != HAL_OK)
  {
    _Error_Handler(__FILE__, __LINE__);
  }

  if (HAL_TIM_PWM_ConfigChannel(&htim9, &sConfigOC, TIM_CHANNEL_2) != HAL_OK)
  {
    _Error_Handler(__FILE__, __LINE__);
  }

  HAL_TIM_MspPostInit(&htim9);

}

/* TIM12 init function */
static void MX_TIM12_Init(void)
{

  TIM_OC_InitTypeDef sConfigOC;

  htim12.Instance = TIM12;
  htim12.Init.Prescaler = 0;
  htim12.Init.CounterMode = TIM_COUNTERMODE_UP;
  htim12.Init.Period = 16799;
  htim12.Init.ClockDivision = TIM_CLOCKDIVISION_DIV1;
  if (HAL_TIM_PWM_Init(&htim12) != HAL_OK)
  {
    _Error_Handler(__FILE__, __LINE__);
  }

  sConfigOC.OCMode = TIM_OCMODE_PWM1;
  sConfigOC.Pulse = 0;
  sConfigOC.OCPolarity = TIM_OCPOLARITY_HIGH;
  sConfigOC.OCFastMode = TIM_OCFAST_DISABLE;
  if (HAL_TIM_PWM_ConfigChannel(&htim12, &sConfigOC, TIM_CHANNEL_1) != HAL_OK)
  {
    _Error_Handler(__FILE__, __LINE__);
  }

  if (HAL_TIM_PWM_ConfigChannel(&htim12, &sConfigOC, TIM_CHANNEL_2) != HAL_OK)
  {
    _Error_Handler(__FILE__, __LINE__);
  }

  HAL_TIM_MspPostInit(&htim12);

}

/* USART2 init function */
static void MX_USART2_Init(void)
{

  husart2.Instance = USART2;
  husart2.Init.BaudRate = 115200;
  husart2.Init.WordLength = USART_WORDLENGTH_8B;
  husart2.Init.StopBits = USART_STOPBITS_1;
  husart2.Init.Parity = USART_PARITY_NONE;
  husart2.Init.Mode = USART_MODE_TX_RX;
  husart2.Init.CLKPolarity = USART_POLARITY_LOW;
  husart2.Init.CLKPhase = USART_PHASE_1EDGE;
  husart2.Init.CLKLastBit = USART_LASTBIT_DISABLE;
  if (HAL_USART_Init(&husart2) != HAL_OK)
  {
    _Error_Handler(__FILE__, __LINE__);
  }

}

/* USART3 init function */
static void MX_USART3_UART_Init(void)
{

  huart3.Instance = USART3;
  huart3.Init.BaudRate = 115200;
  huart3.Init.WordLength = UART_WORDLENGTH_8B;
  huart3.Init.StopBits = UART_STOPBITS_1;
  huart3.Init.Parity = UART_PARITY_NONE;
  huart3.Init.Mode = UART_MODE_TX_RX;
  huart3.Init.HwFlowCtl = UART_HWCONTROL_NONE;
  huart3.Init.OverSampling = UART_OVERSAMPLING_16;
  if (HAL_MultiProcessor_Init(&huart3, 0, UART_WAKEUPMETHOD_IDLELINE) != HAL_OK)
  {
    _Error_Handler(__FILE__, __LINE__);
  }

}

static void MX_DMA_Init(void)
{
  /* DMA controller clock enable */
  __HAL_RCC_DMA2_CLK_ENABLE();

  /* DMA interrupt init */
  /* DMA2_Stream0_IRQn interrupt configuration */
  HAL_NVIC_SetPriority(DMA2_Stream0_IRQn, 0, 0);
  HAL_NVIC_EnableIRQ(DMA2_Stream0_IRQn);

}

/** Configure pins as
        * Analog
        * Input
        * Output
        * EVENT_OUT
        * EXTI
     PC3   ------> I2S2_SD
     PA4   ------> I2S3_WS
     PB10   ------> I2S2_CK
     PC7   ------> I2S3_MCK
     PA9   ------> USB_OTG_FS_VBUS
     PA10   ------> USB_OTG_FS_ID
     PA11   ------> USB_OTG_FS_DM
     PA12   ------> USB_OTG_FS_DP
     PC10   ------> I2S3_CK
     PC12   ------> I2S3_SD
     PB6   ------> I2C1_SCL
     PB9   ------> I2C1_SDA
*/
static void MX_GPIO_Init(void)
{

  GPIO_InitTypeDef GPIO_InitStruct;

  /* GPIO Ports Clock Enable */
  __HAL_RCC_GPIOE_CLK_ENABLE();
  __HAL_RCC_GPIOC_CLK_ENABLE();
  __HAL_RCC_GPIOH_CLK_ENABLE();
  __HAL_RCC_GPIOA_CLK_ENABLE();
  __HAL_RCC_GPIOB_CLK_ENABLE();
  __HAL_RCC_GPIOD_CLK_ENABLE();

  /*Configure GPIO pin Output Level */
  HAL_GPIO_WritePin(CS_I2C_SPI_GPIO_Port, CS_I2C_SPI_Pin, GPIO_PIN_RESET);

  /*Configure GPIO pin Output Level */
  HAL_GPIO_WritePin(OTG_FS_PowerSwitchOn_GPIO_Port, OTG_FS_PowerSwitchOn_Pin, GPIO_PIN_SET);

  /*Configure GPIO pin Output Level */
  HAL_GPIO_WritePin(GPIOD, LD5_Pin|LD6_Pin|Audio_RST_Pin, GPIO_PIN_RESET);

  /*Configure GPIO pin : CS_I2C_SPI_Pin */
  GPIO_InitStruct.Pin = CS_I2C_SPI_Pin;
  GPIO_InitStruct.Mode = GPIO_MODE_OUTPUT_PP;
  GPIO_InitStruct.Pull = GPIO_NOPULL;
  GPIO_InitStruct.Speed = GPIO_SPEED_FREQ_LOW;
  HAL_GPIO_Init(CS_I2C_SPI_GPIO_Port, &GPIO_InitStruct);

  /*Configure GPIO pin : OTG_FS_PowerSwitchOn_Pin */
  GPIO_InitStruct.Pin = OTG_FS_PowerSwitchOn_Pin;
  GPIO_InitStruct.Mode = GPIO_MODE_OUTPUT_PP;
  GPIO_InitStruct.Pull = GPIO_NOPULL;
  GPIO_InitStruct.Speed = GPIO_SPEED_FREQ_LOW;
  HAL_GPIO_Init(OTG_FS_PowerSwitchOn_GPIO_Port, &GPIO_InitStruct);

  /*Configure GPIO pin : PDM_OUT_Pin */
  GPIO_InitStruct.Pin = PDM_OUT_Pin;
  GPIO_InitStruct.Mode = GPIO_MODE_AF_PP;
  GPIO_InitStruct.Pull = GPIO_NOPULL;
  GPIO_InitStruct.Speed = GPIO_SPEED_FREQ_LOW;
  GPIO_InitStruct.Alternate = GPIO_AF5_SPI2;
  HAL_GPIO_Init(PDM_OUT_GPIO_Port, &GPIO_InitStruct);

  /*Configure GPIO pin : B1_Pin */
  GPIO_InitStruct.Pin = B1_Pin;
  GPIO_InitStruct.Mode = GPIO_MODE_IT_RISING;
  GPIO_InitStruct.Pull = GPIO_NOPULL;
  HAL_GPIO_Init(B1_GPIO_Port, &GPIO_InitStruct);

  /*Configure GPIO pin : I2S3_WS_Pin */
  GPIO_InitStruct.Pin = I2S3_WS_Pin;
  GPIO_InitStruct.Mode = GPIO_MODE_AF_PP;
  GPIO_InitStruct.Pull = GPIO_NOPULL;
  GPIO_InitStruct.Speed = GPIO_SPEED_FREQ_LOW;
  GPIO_InitStruct.Alternate = GPIO_AF6_SPI3;
  HAL_GPIO_Init(I2S3_WS_GPIO_Port, &GPIO_InitStruct);

  /*Configure GPIO pin : BOOT1_Pin */
  GPIO_InitStruct.Pin = BOOT1_Pin;
  GPIO_InitStruct.Mode = GPIO_MODE_INPUT;
  GPIO_InitStruct.Pull = GPIO_NOPULL;
  HAL_GPIO_Init(BOOT1_GPIO_Port, &GPIO_InitStruct);

  /*Configure GPIO pin : CLK_IN_Pin */
  GPIO_InitStruct.Pin = CLK_IN_Pin;
  GPIO_InitStruct.Mode = GPIO_MODE_AF_PP;
  GPIO_InitStruct.Pull = GPIO_NOPULL;
  GPIO_InitStruct.Speed = GPIO_SPEED_FREQ_LOW;
  GPIO_InitStruct.Alternate = GPIO_AF5_SPI2;
  HAL_GPIO_Init(CLK_IN_GPIO_Port, &GPIO_InitStruct);

  /*Configure GPIO pins : LD5_Pin LD6_Pin Audio_RST_Pin */
  GPIO_InitStruct.Pin = LD5_Pin|LD6_Pin|Audio_RST_Pin;
  GPIO_InitStruct.Mode = GPIO_MODE_OUTPUT_PP;
  GPIO_InitStruct.Pull = GPIO_NOPULL;
  GPIO_InitStruct.Speed = GPIO_SPEED_FREQ_LOW;
  HAL_GPIO_Init(GPIOD, &GPIO_InitStruct);

  /*Configure GPIO pins : I2S3_MCK_Pin I2S3_SCK_Pin I2S3_SD_Pin */
  GPIO_InitStruct.Pin = I2S3_MCK_Pin|I2S3_SCK_Pin|I2S3_SD_Pin;
  GPIO_InitStruct.Mode = GPIO_MODE_AF_PP;
  GPIO_InitStruct.Pull = GPIO_NOPULL;
  GPIO_InitStruct.Speed = GPIO_SPEED_FREQ_LOW;
  GPIO_InitStruct.Alternate = GPIO_AF6_SPI3;
  HAL_GPIO_Init(GPIOC, &GPIO_InitStruct);

  /*Configure GPIO pin : VBUS_FS_Pin */
  GPIO_InitStruct.Pin = VBUS_FS_Pin;
  GPIO_InitStruct.Mode = GPIO_MODE_INPUT;
  GPIO_InitStruct.Pull = GPIO_NOPULL;
  HAL_GPIO_Init(VBUS_FS_GPIO_Port, &GPIO_InitStruct);

  /*Configure GPIO pins : OTG_FS_ID_Pin OTG_FS_DM_Pin OTG_FS_DP_Pin */
  GPIO_InitStruct.Pin = OTG_FS_ID_Pin|OTG_FS_DM_Pin|OTG_FS_DP_Pin;
  GPIO_InitStruct.Mode = GPIO_MODE_AF_PP;
  GPIO_InitStruct.Pull = GPIO_NOPULL;
  GPIO_InitStruct.Speed = GPIO_SPEED_FREQ_LOW;
  GPIO_InitStruct.Alternate = GPIO_AF10_OTG_FS;
  HAL_GPIO_Init(GPIOA, &GPIO_InitStruct);

  /*Configure GPIO pin : OTG_FS_OverCurrent_Pin */
  GPIO_InitStruct.Pin = OTG_FS_OverCurrent_Pin;
  GPIO_InitStruct.Mode = GPIO_MODE_INPUT;
  GPIO_InitStruct.Pull = GPIO_NOPULL;
  HAL_GPIO_Init(OTG_FS_OverCurrent_GPIO_Port, &GPIO_InitStruct);

  /*Configure GPIO pins : Audio_SCL_Pin Audio_SDA_Pin */
  GPIO_InitStruct.Pin = Audio_SCL_Pin|Audio_SDA_Pin;
  GPIO_InitStruct.Mode = GPIO_MODE_AF_OD;
  GPIO_InitStruct.Pull = GPIO_PULLUP;
  GPIO_InitStruct.Speed = GPIO_SPEED_FREQ_LOW;
  GPIO_InitStruct.Alternate = GPIO_AF4_I2C1;
  HAL_GPIO_Init(GPIOB, &GPIO_InitStruct);

  /*Configure GPIO pin : MEMS_INT2_Pin */
  GPIO_InitStruct.Pin = MEMS_INT2_Pin;
  GPIO_InitStruct.Mode = GPIO_MODE_EVT_RISING;
  GPIO_InitStruct.Pull = GPIO_NOPULL;
  HAL_GPIO_Init(MEMS_INT2_GPIO_Port, &GPIO_InitStruct);

}

/* USER CODE BEGIN 4 */
int fputc(int ch, FILE *f)
{
	return(ITM_SendChar(ch));
}
/* USER CODE END 4 */

void _Error_Handler(char * file, int line)
{
  while(1)
  {
  }
}

/************************ (C) COPYRIGHT STMicroelectronics *****END OF FILE****/
